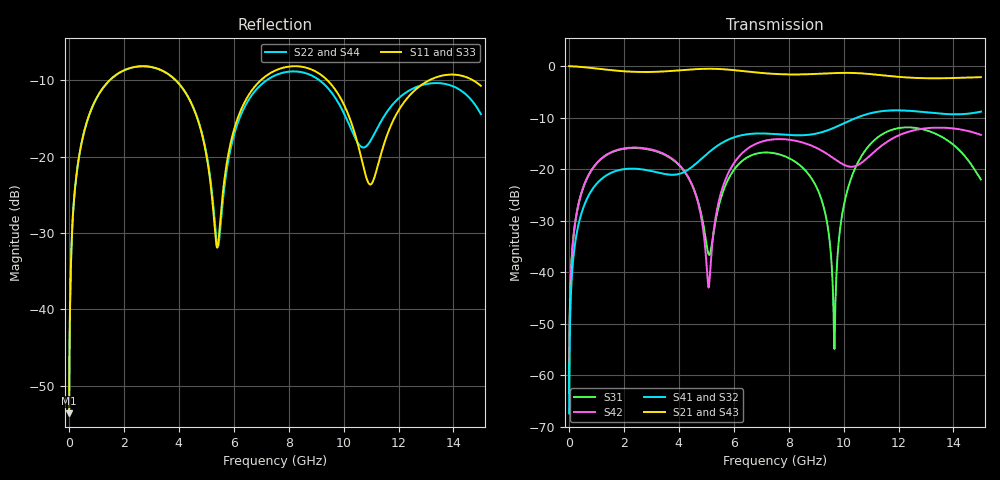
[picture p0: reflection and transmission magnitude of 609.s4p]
! Created with skrf 1.8.0 (http://scikit-rf.org).
# GHz S RI R 50.0
!freq ReS11 ImS11 ReS12 ImS12 ReS13 ImS13
! ReS14 ImS14
! ReS21 ImS21 ReS22 ImS22 ReS23 ImS23
! ReS24 ImS24
! ReS31 ImS31 ReS32 ImS32 ReS33 ImS33
! ReS34 ImS34
! ReS41 ImS41 ReS42 ImS42 ReS43 ImS43
! ReS44 ImS44
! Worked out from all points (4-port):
!   2499 points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, 5 MHz to 15 GHz, reference 50 ohm
!   strongest paths, dB at 5 MHz, 3.476 GHz, 7.19 GHz, 11.1 GHz, 15 GHz:
!     S21: 0.0, -1.0, -1.4, -1.6, -2.2
!     S43: 0.0, -1.0, -1.4, -1.6, -2.1
!     S41: -67.4, -20.9, -13.1, -9.0, -8.8
!     S32: -67.4, -21.0, -13.1, -9.0, -8.9
!     S42: -63.4, -17.1, -14.4, -16.7, -13.3
!     S31: -63.4, -17.2, -16.8, -14.5, -22.0
!   lowest |S11| = -53.6 dB at 5 MHz (marker M1), VSWR 1.00, Z = 50.2 + j0.126 ohm
!   |S11| at or under -10 dB: start of sweep to 1.48 GHz; 3.888 GHz to 6.983 GHz (3.095 GHz wide, 56.9 % of centre); 9.411 GHz to 13.12 GHz (3.704 GHz wide, 32.9 % of centre) (the widest 3 of 4)
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0.005  0.00166 0.00126  0.9983 -0.00322  8.37e-05 0.000672  -8.13e-05 -0.000419
       0.9983 -0.00322  0.00166 0.00126  -8.13e-05 -0.000419  8.38e-05 0.000672
       8.37e-05 0.000672  -8.13e-05 -0.000419  0.00166 0.00126  0.9983 -0.00322
       -8.13e-05 -0.000419  8.38e-05 0.000672  0.9983 -0.00322  0.00166 0.00126
1.569404  0.2767 0.1747  0.535 -0.7375  0.1318 0.0631  -0.0929 -0.0036
          0.535 -0.7375  0.2757 0.1754  -0.0928 -0.00372  0.1346 0.0593
          0.1318 0.0631  -0.0928 -0.00372  0.2768 0.1747  0.535 -0.7375
          -0.0929 -0.0036  0.1346 0.0593  0.535 -0.7375  0.2757 0.1755
5.083368  0.0386 -0.0739  -0.9064 -0.2568  -0.0142 -0.00448  -0.034 0.1407
          -0.9064 -0.2568  0.0405 -0.0766  -0.0359 0.1402  0.00705 -0.00075
          -0.0142 -0.00448  -0.0359 0.1402  0.038 -0.0752  -0.9062 -0.2569
          -0.034 0.1407  0.00705 -0.00075  -0.9062 -0.2569  0.0416 -0.0774
8.397249  0.387 -0.0464  0.0042 0.8303  0.1062 -0.0272  0.2061 -0.0537
          0.0042 0.8303  0.3593 -0.0113  0.2065 -0.0498  0.1106 -0.1478
          0.1062 -0.0272  0.2065 -0.0498  0.3879 -0.0446  0.00513 0.8301
          0.2061 -0.0537  0.1106 -0.1478  0.00513 0.8301  0.359 -0.0136
9.660275  0.2118 -0.1837  0.5512 0.654  0.00172 0.000672  0.1868 -0.1701
          0.5512 0.654  0.2155 -0.1234  0.1899 -0.1663  -0.0681 -0.1062
          0.00172 0.000672  0.1899 -0.1663  0.2154 -0.1817  0.5519 0.653
          0.1868 -0.1701  -0.0681 -0.1062  0.5519 0.653  0.2139 -0.1271
11.1484  0.0728 0.02  0.8277 -0.0152  0.0686 0.1814  -0.0272 -0.3556
         0.8277 -0.0152  0.1354 0.0491  -0.0204 -0.3546  -0.000709 0.1498
         0.0686 0.1814  -0.0204 -0.3546  0.0799 0.019  0.8279 -0.0167
         -0.0272 -0.3556  -0.000709 0.1498  0.8279 -0.0167  0.129 0.0458
15  0.2424 -0.1609  -0.3949 -0.6735  0.0791 -0.00628  -0.2907 0.2153
    -0.3949 -0.6735  0.1646 -0.0947  -0.2985 0.2018  -0.0453 -0.2103
    0.0791 -0.00628  -0.2985 0.2018  0.2383 -0.1689  -0.3997 -0.6707
    -0.2907 0.2153  -0.0453 -0.2103  -0.3997 -0.6707  0.1676 -0.0845
